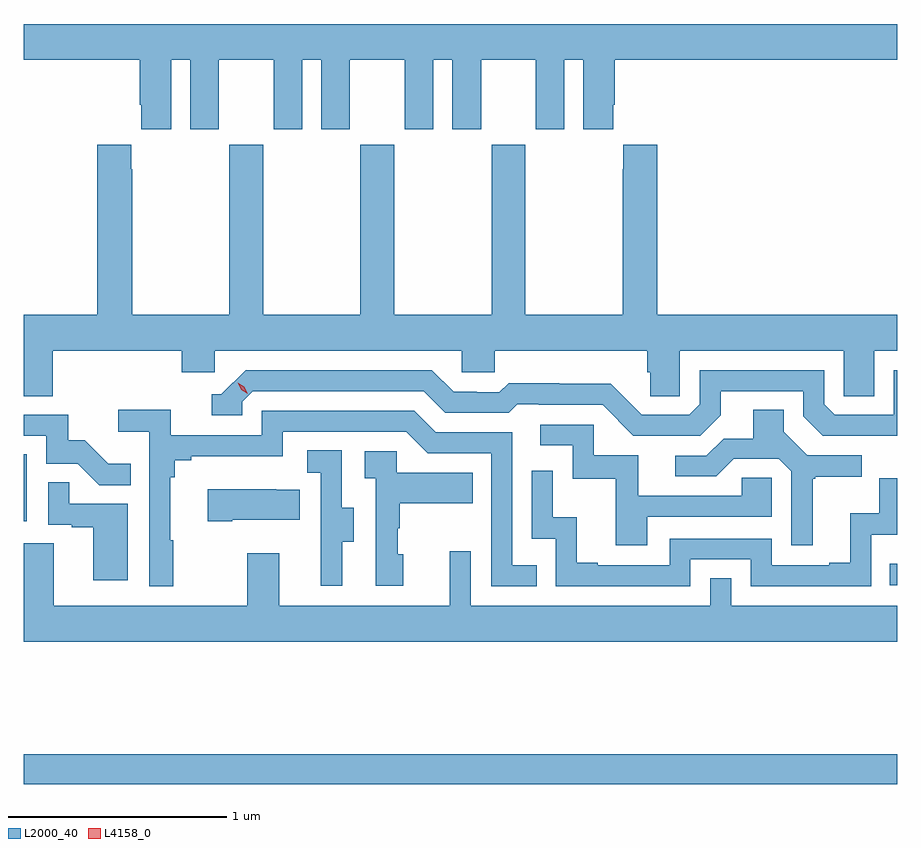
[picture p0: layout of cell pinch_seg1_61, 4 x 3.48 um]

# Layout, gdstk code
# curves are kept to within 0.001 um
import gdstk
lib = gdstk.Library(unit=1e-6, precision=1e-09)
def R(c, l, rs):  # rectangles x0, y0, x1, y1
    for r in rs: c.add(gdstk.rectangle(r[:2], r[2:], *l))
def P(c, l, *ps):  # polygons
    for p in ps: c.add(gdstk.Polygon(p, *l))
L2000_40 = (2000, 40)
L4158_0 = (4158, 0)

pinch_seg1_61 = lib.new_cell('pinch_seg1_61')
R(pinch_seg1_61, L2000_40, [(1046.143,568.396,1050.143,568.532), (1050.109,569.307,1050.143,569.404), (1046.143,569.598,1046.158,569.905)])
P(pinch_seg1_61, L2000_40, [(1046.818,571.712),(1046.906,571.712),(1046.906,571.395),(1047.037,571.395),(1047.037,571.712),(1047.287,571.712),(1047.287,571.395),(1047.418,571.395),(1047.418,571.712),(1047.506,571.712),(1047.506,571.395),(1047.637,571.395),(1047.637,571.712),(1047.887,571.712),(1047.887,571.395),(1048.018,571.395),(1048.018,571.712),(1048.106,571.712),(1048.106,571.395),(1048.237,571.395),(1048.237,571.712),(1048.487,571.712),(1048.487,571.395),(1048.618,571.395),(1048.618,571.712),(1048.706,571.712),(1048.706,571.395),(1048.843,571.395),(1048.843,571.507),(1048.85,571.507),(1048.85,571.712),(1050.143,571.712),(1050.143,571.876),(1046.143,571.876),(1046.143,571.712),(1046.675,571.712),(1046.675,571.507),(1046.681,571.507),(1046.681,571.395),(1046.818,571.395)],
  [(1046.276,570.38),(1046.867,570.38),(1046.867,570.282),(1047.018,570.282),(1047.018,570.38),(1048.149,570.38),(1048.149,570.282),(1048.299,570.282),(1048.299,570.38),(1048.997,570.38),(1048.997,570.282),(1049.011,570.282),(1049.011,570.172),(1049.148,570.172),(1049.148,570.38),(1049.898,570.38),(1049.898,570.172),(1050.037,570.172),(1050.037,570.38),(1050.143,570.38),(1050.143,570.544),(1049.045,570.544),(1049.045,571.324),(1048.889,571.324),(1048.889,571.211),(1048.885,571.211),(1048.885,570.544),(1048.44,570.544),(1048.44,571.324),(1048.285,571.324),(1048.285,570.544),(1047.84,570.544),(1047.84,571.324),(1047.685,571.324),(1047.685,570.544),(1047.24,570.544),(1047.24,571.324),(1047.085,571.324),(1047.085,570.544),(1046.64,570.544),(1046.64,571.211),(1046.635,571.211),(1046.635,571.324),(1046.48,571.324),(1046.48,570.544),(1046.143,570.544),(1046.143,570.172),(1046.276,570.172)],
  [(1050.143,570.291),(1050.126,570.291),(1050.126,570.087),(1049.856,570.087),(1049.808,570.135),(1049.808,570.291),(1049.238,570.291),(1049.238,570.135),(1049.19,570.087),(1048.974,570.087),(1048.832,570.229),(1048.596,570.229),(1048.596,570.232),(1048.363,570.232),(1048.321,570.189),(1048.218,570.189),(1048.218,570.192),(1048.111,570.192),(1048.012,570.291),(1047.159,570.291),(1047.048,570.18),(1047.005,570.18),(1047.005,570.084),(1047.144,570.084),(1047.144,570.147),(1047.192,570.195),(1047.975,570.195),(1048.074,570.096),(1048.363,570.096),(1048.402,570.135),(1048.501,570.135),(1048.501,570.132),(1048.794,570.132),(1048.935,569.991),(1049.241,569.991),(1049.335,570.085),(1049.335,570.195),(1049.712,570.195),(1049.712,570.081),(1049.802,569.991),(1050.143,569.99)],
  [(1046.827,569.513),(1046.815,569.513),(1046.815,569.801),(1046.834,569.801),(1046.834,569.878),(1046.911,569.878),(1046.911,569.897),(1047.33,569.897),(1047.33,570.009),(1047.894,570.009),(1047.993,569.91),(1048.284,569.91),(1048.284,569.301),(1048.493,569.301),(1048.493,569.397),(1048.38,569.397),(1048.38,570.006),(1048.03,570.006),(1047.931,570.105),(1047.234,570.105),(1047.234,569.994),(1046.816,569.994),(1046.816,570.11),(1046.577,570.11),(1046.577,570.008),(1046.718,570.008),(1046.718,569.301),(1046.827,569.301)],
  [(1049.755,569.793),(1049.767,569.793),(1049.767,569.804),(1049.98,569.804),(1049.98,569.901),(1049.73,569.901),(1049.623,570.008),(1049.623,570.11),(1049.483,570.11),(1049.483,569.978),(1049.348,569.978),(1049.268,569.898),(1049.127,569.898),(1049.127,569.805),(1049.314,569.805),(1049.395,569.886),(1049.601,569.886),(1049.658,569.829),(1049.658,569.49),(1049.755,569.49)],
  [(1046.633,569.863),(1046.529,569.863),(1046.422,569.97),(1046.346,569.97),(1046.346,570.087),(1046.143,570.087),(1046.143,569.991),(1046.247,569.991),(1046.247,569.862),(1046.391,569.862),(1046.489,569.764),(1046.633,569.764)],
  [(1048.999,569.619),(1049.568,569.619),(1049.568,569.799),(1049.431,569.799),(1049.431,569.715),(1048.957,569.715),(1048.957,569.901),(1048.752,569.901),(1048.752,570.042),(1048.509,570.042),(1048.509,569.946),(1048.656,569.946),(1048.656,569.793),(1048.855,569.793),(1048.855,569.49),(1048.999,569.49)],
  [(1047.601,569.506),(1047.655,569.506),(1047.655,569.661),(1047.6,569.661),(1047.6,569.924),(1047.441,569.924),(1047.441,569.821),(1047.504,569.821),(1047.504,569.517),(1047.503,569.517),(1047.503,569.304),(1047.601,569.304)],
  [(1047.88,569.448),(1047.855,569.448),(1047.855,569.567),(1047.865,569.567),(1047.865,569.681),(1048.199,569.681),(1048.199,569.821),(1047.852,569.821),(1047.852,569.919),(1047.705,569.919),(1047.705,569.795),(1047.756,569.795),(1047.756,569.304),(1047.88,569.304)],
  [(1049.196,569.424),(1049.472,569.424),(1049.472,569.301),(1050.024,569.301),(1050.024,569.537),(1050.143,569.537),(1050.143,569.796),(1050.06,569.796),(1050.06,569.635),(1049.927,569.635),(1049.927,569.41),(1049.831,569.41),(1049.831,569.397),(1049.568,569.397),(1049.568,569.52),(1049.1,569.52),(1049.1,569.397),(1048.771,569.397),(1048.771,569.41),(1048.676,569.41),(1048.676,569.618),(1048.566,569.618),(1048.566,569.83),(1048.47,569.83),(1048.47,569.52),(1048.578,569.52),(1048.578,569.301),(1049.196,569.301)],
  [(1046.62,569.679),(1046.351,569.679),(1046.351,569.777),(1046.256,569.777),(1046.256,569.583),(1046.363,569.583),(1046.363,569.571),(1046.462,569.571),(1046.462,569.328),(1046.62,569.328)],
  [(1047.097,569.606),(1047.407,569.606),(1047.407,569.743),(1047.299,569.743),(1047.299,569.746),(1046.985,569.746),(1046.985,569.599),(1047.097,569.599)],
  [(1050.143,569.212),(1049.382,569.212),(1049.382,569.339),(1049.286,569.339),(1049.286,569.212),(1048.191,569.212),(1048.191,569.461),(1048.094,569.461),(1048.094,569.212),(1047.313,569.212),(1047.313,569.452),(1047.166,569.452),(1047.166,569.212),(1046.281,569.212),(1046.281,569.498),(1046.143,569.498),(1046.143,569.048),(1050.143,569.048)])
P(pinch_seg1_61, L4158_0, [(1047.169,570.182),(1047.138,570.202),(1047.122,570.234),(1047.122,570.234),(1047.122,570.234),(1047.153,570.215),(1047.169,570.183),(1047.169,570.182)])

lib.write_gds('pinch_seg1_61.gds')
